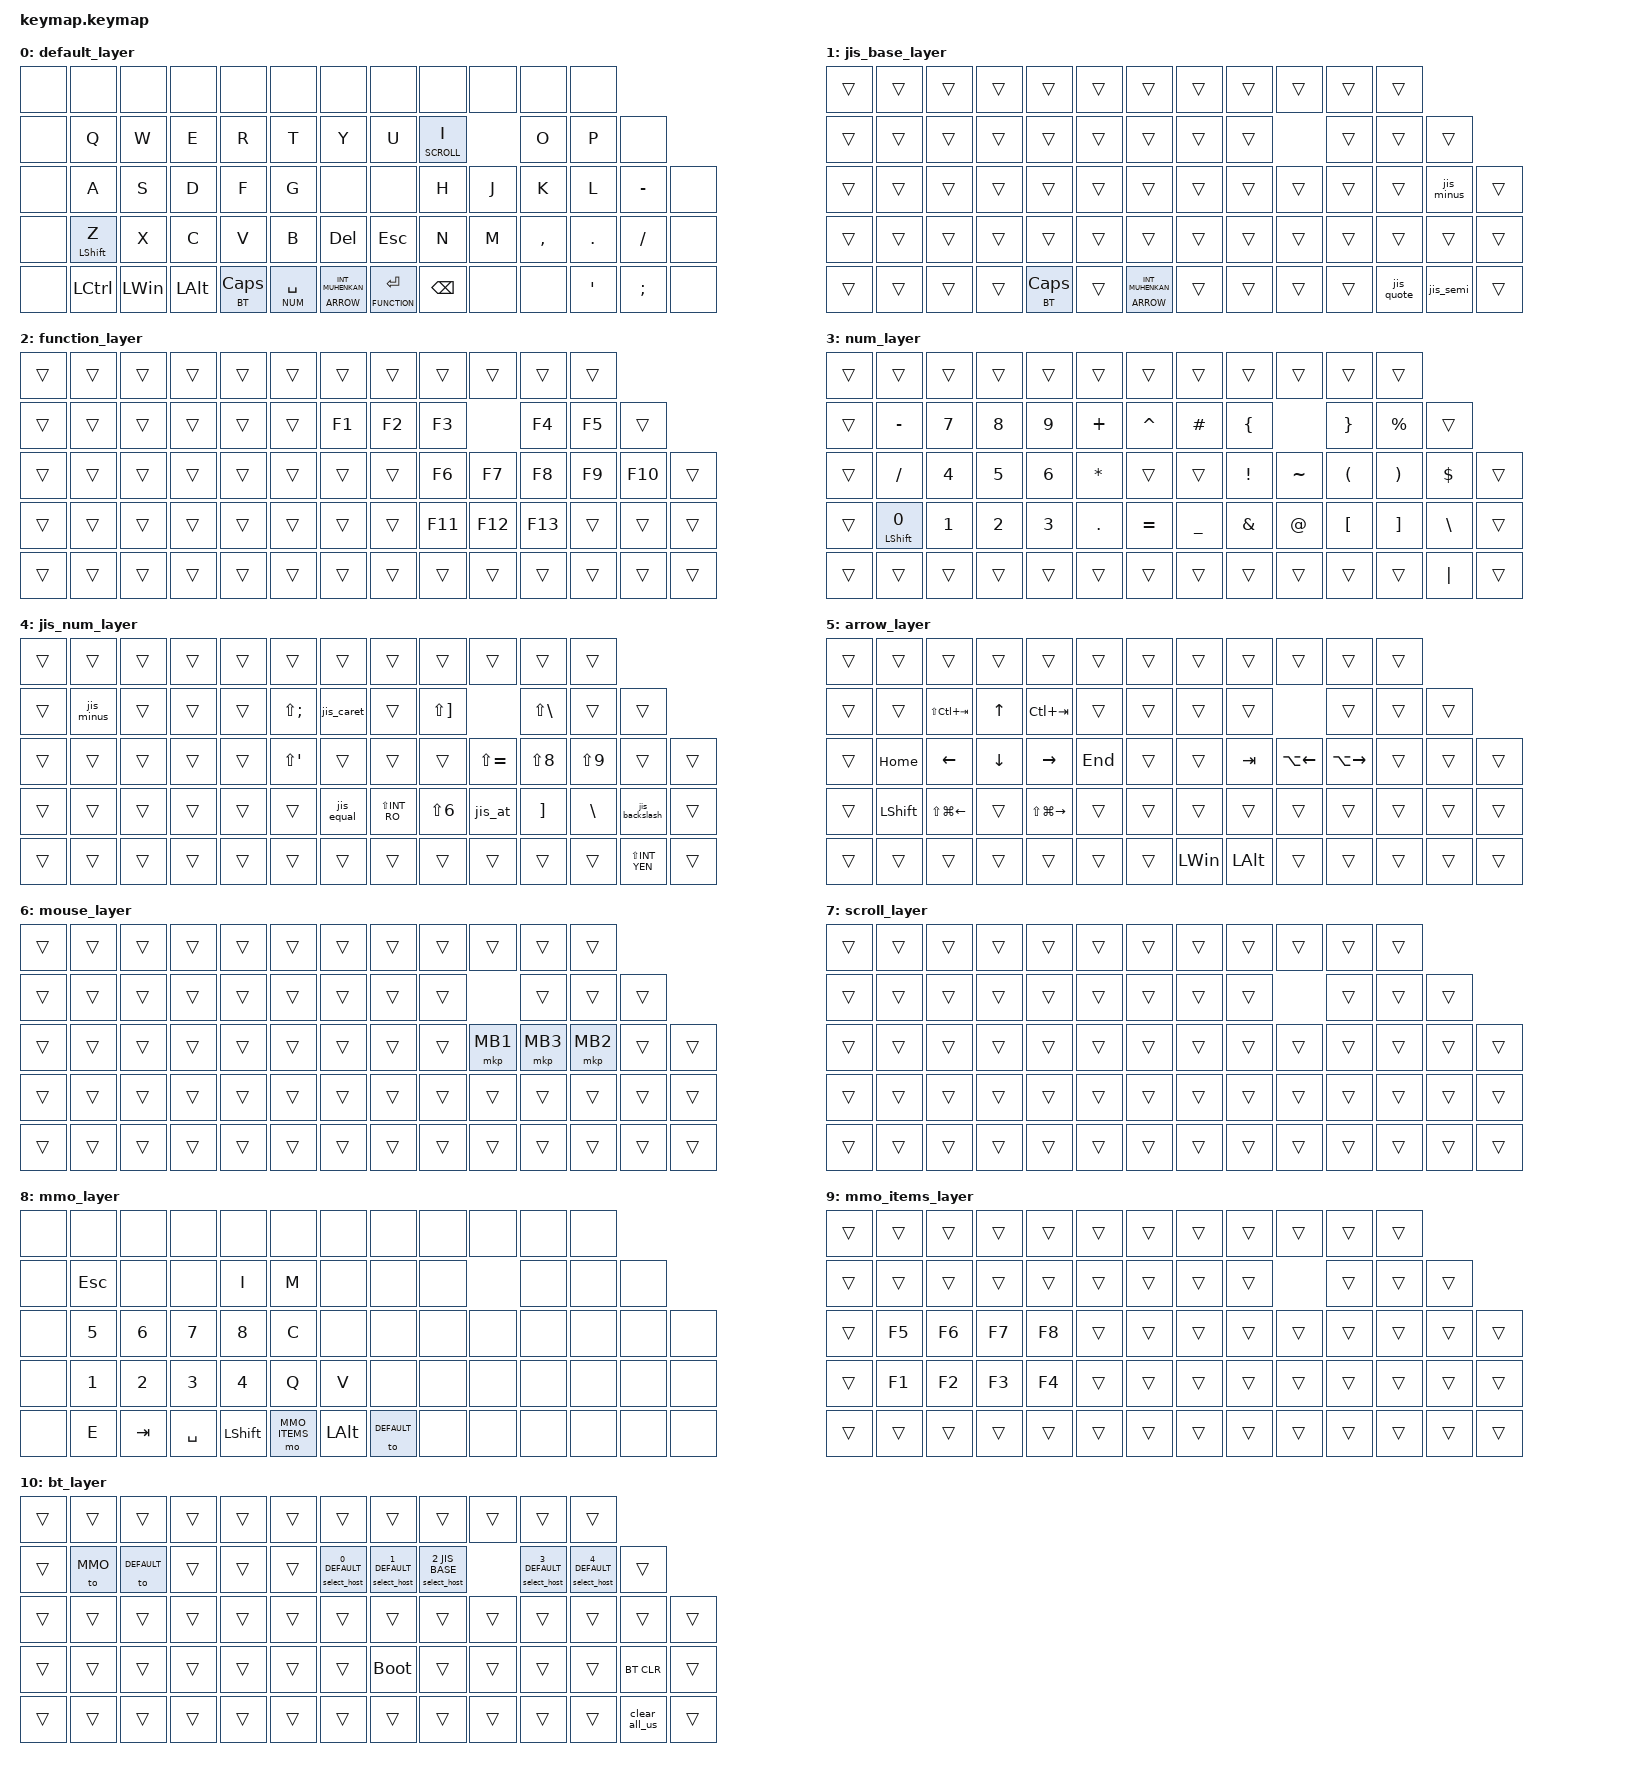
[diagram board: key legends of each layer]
#include <behaviors.dtsi>
#include <input/processors.dtsi>
#include <dt-bindings/zmk/bt.h>
#include <dt-bindings/zmk/keys.h>
#include <dt-bindings/zmk/modifiers.h>
#include <dt-bindings/zmk/pointing.h>
#include <dt-bindings/zmk/input_transform.h>

#define DEFAULT 0
#define JIS_BASE 1
#define FUNCTION 2
#define NUM 3
#define JIS_NUM 4
#define ARROW 5
#define MOUSE 6
#define SCROLL 7
#define MMO 8
#define MMO_ITEMS 9
#define BT 10

&mt {
    flavor = "balanced";
    quick-tap-ms = <0>;
};

&zip_temp_layer {
    excluded-positions = <33 34 35>;
};

&pointing_listener {
    /*
     * Initial tuning baseline:
     * - PAW3222 CPI: driver default
     * - cursor scale: 1:1
     * - auto mouse: MOUSE layer for 700 ms
     * - SCROLL layer: map XY to wheel events, without auto mouse
     */
    input-processors =
        <&zip_xy_transform (INPUT_TRANSFORM_X_INVERT | INPUT_TRANSFORM_Y_INVERT)>,
        <&zip_xy_scaler 1 1>,
        <&zip_temp_layer MOUSE 700>;

    /* MMO中はマウスレイヤーの自動切替を行わない。 */
    mmo_mode {
        layers = <MMO MMO_ITEMS>;
        input-processors =
            <&zip_xy_transform (INPUT_TRANSFORM_X_INVERT | INPUT_TRANSFORM_Y_INVERT)>,
            <&zip_xy_scaler 1 1>;
    };

    scroll_mode {
        layers = <SCROLL>;
        input-processors =
            <&zip_xy_transform INPUT_TRANSFORM_X_INVERT>,
            <&zip_xy_to_scroll_mapper>,
            <&zip_scroll_scaler 1 1>;
    };
};

/ {
    conditional_layers {
        compatible = "zmk,conditional-layers";
        jis_numbers {
            if-layers = <JIS_BASE NUM>;
            then-layer = <JIS_NUM>;
        };
    };
    combos {
        compatible = "zmk,combos";

        tab {
            layers = <DEFAULT JIS_BASE FUNCTION NUM JIS_NUM ARROW MOUSE SCROLL BT>;
            bindings = <&kp TAB>;
            key-positions = <26 27>;
        };

        shift_tab {
            layers = <DEFAULT JIS_BASE FUNCTION NUM JIS_NUM ARROW MOUSE SCROLL BT>;
            bindings = <&kp LS(TAB)>;
            key-positions = <27 28>;
        };
    };

    macros {
        select_host: select_host {
            compatible = "zmk,behavior-macro-two-param";
            #binding-cells = <2>;
            wait-ms = <0>;
            tap-ms = <0>;
            bindings = <&macro_tap
                        &macro_param_1to2 &bt BT_SEL 0
                        &macro_param_2to1 &to DEFAULT>;
        };

        clear_all_us: clear_all_us {
            compatible = "zmk,behavior-macro";
            #binding-cells = <0>;
            wait-ms = <0>;
            tap-ms = <0>;
            bindings = <&bt BT_CLR_ALL &to DEFAULT>;
        };

        to_jis_base: to_jis_base {
            compatible = "zmk,behavior-macro-one-param";
            #binding-cells = <1>;
            bindings = <&to JIS_BASE &macro_param_1to1 &kp MACRO_PLACEHOLDER>;
        };
        to_layer_0: to_layer_0 {
            compatible = "zmk,behavior-macro-one-param";
            #binding-cells = <1>;
            bindings = <&to DEFAULT &macro_param_1to1 &kp MACRO_PLACEHOLDER>;
            label = "TO_LAYER_0";
        };
    };

    behaviors {
        jis_minus: jis_minus {
            compatible = "zmk,behavior-mod-morph";
            #binding-cells = <0>;
            bindings = <&kp MINUS>, <&kp LS(INT_RO)>;
            mods = <(MOD_LSFT | MOD_RSFT)>;
        };
        jis_quote: jis_quote {
            compatible = "zmk,behavior-mod-morph";
            #binding-cells = <0>;
            bindings = <&kp LS(NUMBER_7)>, <&kp LS(NUMBER_2)>;
            mods = <(MOD_LSFT | MOD_RSFT)>;
        };
        jis_semi: jis_semi {
            compatible = "zmk,behavior-mod-morph";
            #binding-cells = <0>;
            bindings = <&kp SEMICOLON>, <&kp APOS>;
            mods = <(MOD_LSFT | MOD_RSFT)>;
        };
        jis_equal: jis_equal {
            compatible = "zmk,behavior-mod-morph";
            #binding-cells = <0>;
            bindings = <&kp LS(MINUS)>, <&kp LS(SEMICOLON)>;
            mods = <(MOD_LSFT | MOD_RSFT)>;
        };
        jis_caret: jis_caret {
            compatible = "zmk,behavior-mod-morph";
            #binding-cells = <0>;
            bindings = <&kp EQUAL>, <&kp EQUAL>;
            mods = <(MOD_LSFT | MOD_RSFT)>;
        };
        jis_at: jis_at {
            compatible = "zmk,behavior-mod-morph";
            #binding-cells = <0>;
            bindings = <&kp LEFT_BRACKET>, <&kp LEFT_BRACKET>;
            mods = <(MOD_LSFT | MOD_RSFT)>;
        };
        jis_backslash: jis_backslash {
            compatible = "zmk,behavior-mod-morph";
            #binding-cells = <0>;
            bindings = <&kp INT_RO>, <&kp LS(INT_YEN)>;
            mods = <(MOD_LSFT | MOD_RSFT)>;
        };

        lt_to_jis: lt_to_jis {
            compatible = "zmk,behavior-hold-tap";
            bindings = <&mo>, <&to_jis_base>;
            #binding-cells = <2>;
            tapping-term-ms = <200>;
        };
        lt_to_layer_0: lt_to_layer_0 {
            compatible = "zmk,behavior-hold-tap";
            label = "LAYER_TAP_TO_0";
            bindings = <&mo>, <&to_layer_0>;
            #binding-cells = <2>;
            tapping-term-ms = <200>;
        };
    };

    keymap {
        compatible = "zmk,keymap";

        default_layer {
            bindings = <
                &none  &none  &none  &none  &none  &none  &none  &none  &none  &none  &none  &none
                &none  &kp Q  &kp W  &kp E  &kp R  &kp T  &kp Y  &kp U  &lt SCROLL I  &kp O  &kp P  &none
                &none  &kp A  &kp S  &kp D  &kp F  &kp G  &none  &none  &kp H  &kp J  &kp K  &kp L  &kp MINUS  &none
                &none  &mt LEFT_SHIFT Z  &kp X  &kp C  &kp V  &kp B  &kp DELETE  &kp ESCAPE  &kp N  &kp M  &kp COMMA  &kp DOT  &kp SLASH  &none
                &none  &kp LCTRL  &kp LEFT_WIN  &kp LEFT_ALT  &lt_to_layer_0 BT CAPSLOCK  &lt NUM SPACE  &lt_to_layer_0 ARROW INT_MUHENKAN  &lt FUNCTION ENTER  &kp BACKSPACE  &none  &none  &kp APOS  &kp SEMICOLON  &none
            >;
        };

        jis_base_layer {
            bindings = <
                &trans  &trans  &trans  &trans  &trans  &trans  &trans  &trans  &trans  &trans  &trans  &trans
                &trans  &trans  &trans  &trans  &trans  &trans  &trans  &trans  &trans  &trans  &trans  &trans
                &trans  &trans  &trans  &trans  &trans  &trans  &trans  &trans  &trans  &trans  &trans  &trans  &jis_minus  &trans
                &trans  &trans  &trans  &trans  &trans  &trans  &trans  &trans  &trans  &trans  &trans  &trans  &trans  &trans
                &trans  &trans  &trans  &trans  &lt_to_jis BT CAPSLOCK  &trans  &lt_to_jis ARROW INT_MUHENKAN  &trans  &trans  &trans  &trans  &jis_quote  &jis_semi  &trans
            >;
        };

        function_layer {
            bindings = <
                &trans  &trans  &trans  &trans  &trans  &trans  &trans  &trans  &trans  &trans  &trans  &trans
                &trans  &trans  &trans  &trans  &trans  &trans  &kp F1  &kp F2  &kp F3  &kp F4  &kp F5  &trans
                &trans  &trans  &trans  &trans  &trans  &trans  &trans  &trans  &kp F6  &kp F7  &kp F8  &kp F9  &kp F10  &trans
                &trans  &trans  &trans  &trans  &trans  &trans  &trans  &trans  &kp F11  &kp F12  &kp F13  &trans  &trans  &trans
                &trans  &trans  &trans  &trans  &trans  &trans  &trans  &trans  &trans  &trans  &trans  &trans  &trans  &trans
            >;
        };

        num_layer {
            bindings = <
                &trans  &trans  &trans  &trans  &trans  &trans  &trans  &trans  &trans  &trans  &trans  &trans
                &trans  &kp MINUS  &kp NUMBER_7  &kp NUMBER_8  &kp NUMBER_9  &kp PLUS  &kp CARET  &kp HASH  &kp LEFT_BRACE  &kp RIGHT_BRACE  &kp PERCENT  &trans
                &trans  &kp SLASH  &kp NUMBER_4  &kp NUMBER_5  &kp NUMBER_6  &kp ASTERISK  &trans  &trans  &kp EXCLAMATION  &kp TILDE  &kp LEFT_PARENTHESIS  &kp RIGHT_PARENTHESIS  &kp DOLLAR  &trans
                &trans  &mt LEFT_SHIFT N0  &kp NUMBER_1  &kp NUMBER_2  &kp NUMBER_3  &kp PERIOD  &kp EQUAL  &kp UNDERSCORE  &kp AMPERSAND  &kp AT_SIGN  &kp LEFT_BRACKET  &kp RIGHT_BRACKET  &kp BACKSLASH  &trans
                &trans  &trans  &trans  &trans  &trans  &trans  &trans  &trans  &trans  &trans  &trans  &trans  &kp PIPE  &trans
            >;
        };

        jis_num_layer {
            bindings = <
                &trans  &trans  &trans  &trans  &trans  &trans  &trans  &trans  &trans  &trans  &trans  &trans
                &trans  &jis_minus  &trans  &trans  &trans  &kp LS(SEMICOLON)  &jis_caret  &trans  &kp LS(RIGHT_BRACKET)  &kp LS(BACKSLASH)  &trans  &trans
                &trans  &trans  &trans  &trans  &trans  &kp LS(APOS)  &trans  &trans  &trans  &kp LS(EQUAL)  &kp LS(NUMBER_8)  &kp LS(NUMBER_9)  &trans  &trans
                &trans  &trans  &trans  &trans  &trans  &trans  &jis_equal  &kp LS(INT_RO)  &kp LS(NUMBER_6)  &jis_at  &kp RIGHT_BRACKET  &kp BACKSLASH  &jis_backslash  &trans
                &trans  &trans  &trans  &trans  &trans  &trans  &trans  &trans  &trans  &trans  &trans  &trans  &kp LS(INT_YEN)  &trans
            >;
        };

        arrow_layer {
            bindings = <
                &trans  &trans  &trans  &trans  &trans  &trans  &trans  &trans  &trans  &trans  &trans  &trans
                &trans  &trans  &kp LS(LC(TAB))  &kp UP_ARROW  &kp LC(TAB)  &trans  &trans  &trans  &trans  &trans  &trans  &trans
                &trans  &kp HOME  &kp LEFT_ARROW  &kp DOWN_ARROW  &kp RIGHT_ARROW  &kp END  &trans  &trans  &kp TAB  &kp LA(LEFT)  &kp LA(RIGHT)  &trans  &trans  &trans
                &trans  &kp LEFT_SHIFT  &kp LS(LG(LEFT_ARROW))  &trans  &kp LS(LG(RIGHT_ARROW))  &trans  &trans  &trans  &trans  &trans  &trans  &trans  &trans  &trans
                &trans  &trans  &trans  &trans  &trans  &trans  &trans  &kp LEFT_WIN  &kp LEFT_ALT  &trans  &trans  &trans  &trans  &trans
            >;
        };

        mouse_layer {
            bindings = <
                &trans  &trans  &trans  &trans  &trans  &trans  &trans  &trans  &trans  &trans  &trans  &trans
                &trans  &trans  &trans  &trans  &trans  &trans  &trans  &trans  &trans  &trans  &trans  &trans
                &trans  &trans  &trans  &trans  &trans  &trans  &trans  &trans  &trans  &mkp MB1  &mkp MB3  &mkp MB2  &trans  &trans
                &trans  &trans  &trans  &trans  &trans  &trans  &trans  &trans  &trans  &trans  &trans  &trans  &trans  &trans
                &trans  &trans  &trans  &trans  &trans  &trans  &trans  &trans  &trans  &trans  &trans  &trans  &trans  &trans
            >;
        };

        scroll_layer {
            bindings = <
                &trans  &trans  &trans  &trans  &trans  &trans  &trans  &trans  &trans  &trans  &trans  &trans
                &trans  &trans  &trans  &trans  &trans  &trans  &trans  &trans  &trans  &trans  &trans  &trans
                &trans  &trans  &trans  &trans  &trans  &trans  &trans  &trans  &trans  &trans  &trans  &trans  &trans  &trans
                &trans  &trans  &trans  &trans  &trans  &trans  &trans  &trans  &trans  &trans  &trans  &trans  &trans  &trans
                &trans  &trans  &trans  &trans  &trans  &trans  &trans  &trans  &trans  &trans  &trans  &trans  &trans  &trans
            >;
        };

        mmo_layer {
            bindings = <
                &none  &none  &none  &none  &none  &none  &none  &none  &none  &none  &none  &none
                &none  &kp ESCAPE  &none  &none  &kp I  &kp M  &none  &none  &none  &none  &none  &none
                &none  &kp NUMBER_5  &kp NUMBER_6  &kp NUMBER_7  &kp NUMBER_8  &kp C  &none  &none  &none  &none  &none  &none  &none  &none
                &none  &kp NUMBER_1  &kp NUMBER_2  &kp NUMBER_3  &kp NUMBER_4  &kp Q  &kp V  &none  &none  &none  &none  &none  &none  &none
                &none  &kp E  &kp TAB  &kp SPACE  &kp LEFT_SHIFT  &mo MMO_ITEMS  &kp LEFT_ALT  &to DEFAULT  &none  &none  &none  &none  &none  &none
            >;
        };

        mmo_items_layer {
            bindings = <
                &trans  &trans  &trans  &trans  &trans  &trans  &trans  &trans  &trans  &trans  &trans  &trans
                &trans  &trans  &trans  &trans  &trans  &trans  &trans  &trans  &trans  &trans  &trans  &trans
                &trans  &kp F5  &kp F6  &kp F7  &kp F8  &trans  &trans  &trans  &trans  &trans  &trans  &trans  &trans  &trans
                &trans  &kp F1  &kp F2  &kp F3  &kp F4  &trans  &trans  &trans  &trans  &trans  &trans  &trans  &trans  &trans
                &trans  &trans  &trans  &trans  &trans  &trans  &trans  &trans  &trans  &trans  &trans  &trans  &trans  &trans
            >;
        };

        bt_layer {
            bindings = <
                &trans  &trans  &trans  &trans  &trans  &trans  &trans  &trans  &trans  &trans  &trans  &trans
                &trans  &to MMO  &to DEFAULT  &trans  &trans  &trans  &select_host 0 DEFAULT  &select_host 1 DEFAULT  &select_host 2 JIS_BASE  &select_host 3 DEFAULT  &select_host 4 DEFAULT  &trans
                &trans  &trans  &trans  &trans  &trans  &trans  &trans  &trans  &trans  &trans  &trans  &trans  &trans  &trans
                &trans  &trans  &trans  &trans  &trans  &trans  &trans  &bootloader  &trans  &trans  &trans  &trans  &bt BT_CLR  &trans
                &trans  &trans  &trans  &trans  &trans  &trans  &trans  &trans  &trans  &trans  &trans  &trans  &clear_all_us  &trans
            >;
        };
    };
};
